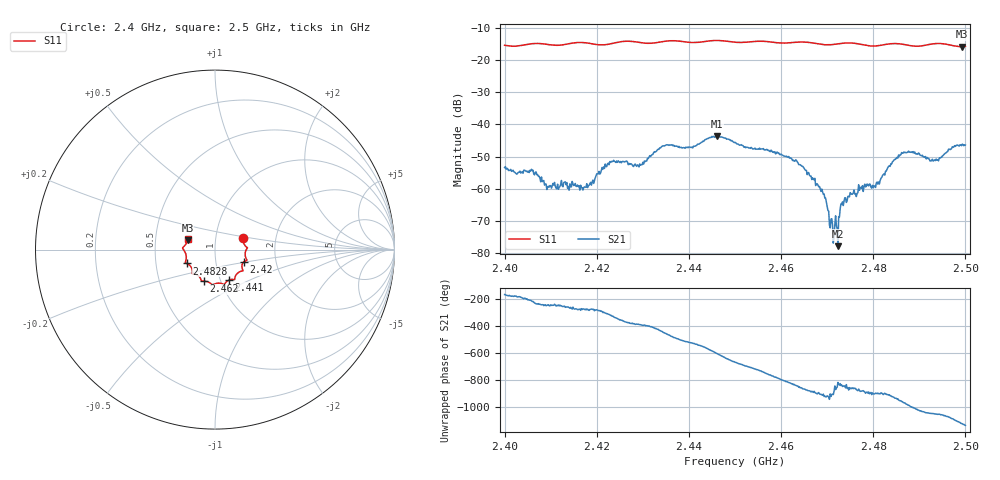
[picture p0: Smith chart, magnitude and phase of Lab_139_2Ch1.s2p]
# Hz S RI R 50
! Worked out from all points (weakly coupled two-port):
!   601 points, 2.4 GHz to 2.5 GHz, reference 50 ohm
!   highest |S21| = -43.65 dB at 2.446 GHz (marker M1); lowest = -77.9 dB at 2.4723 GHz (marker M2)
!   lowest |S11| = -15.8 dB at 2.4993 GHz (marker M3), VSWR 1.39, Z = 36.5 + j3.85 ohm
!   |S11| at or under -10 dB: start of sweep to end of sweep
!   S12 and S22 are empty: the file has one direction only
!   S11 on the Smith chart (normalised r, x): 2.4 GHz: 1.36, +0.18; 2.42 GHz: 1.36, -0.20; 2.441 GHz: 1.10, -0.39; 2.462 GHz: 0.84, -0.30; 2.4828 GHz: 0.72, -0.11; 2.5 GHz: 0.73, +0.09
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2.4e9  0.1574 0.0629  -0.00208 -0.000462  0 0  0 0
2.409667e9  0.1732 -0.00278  -0.000362 0.000994  0 0  0 0
2.416667e9  0.1776 -0.06  3.97e-05 0.00104  0 0  0 0
2.42e9  0.1595 -0.0697  0.000331 0.00167  0 0  0 0
2.423333e9  0.1505 -0.1006  0.00224 0.0014  0 0  0 0
2.429667e9  0.1396 -0.1226  0.00195 -0.00132  0 0  0 0
2.433333e9  0.1124 -0.151  0.00168 -0.00374  0 0  0 0
2.441e9  0.0786 -0.1697  -0.00454 -0.000718  0 0  0 0
2.446e9  0.0507 -0.195  -0.00288 0.00591  0 0  0 0
2.45e9  0.0285 -0.1871  0.00344 0.00398  0 0  0 0
2.462e9  -0.0604 -0.1755  -0.000784 -0.0029  0 0  0 0
2.466667e9  -0.0779 -0.1682  -0.00135 -0.000329  0 0  0 0
2.469333e9  -0.0895 -0.1482  -0.000748 0.000355  0 0  0 0
2.471e9  -0.1043 -0.1385  -0.000337 5.66e-05  0 0  0 0
2.472333e9  -0.116 -0.1355  -2.39e-05 -0.000126  0 0  0 0
2.4735e9  -0.1229 -0.1351  -0.000334 -0.000434  0 0  0 0
2.482833e9  -0.1576 -0.0773  -0.00187 0.00023  0 0  0 0
2.483333e9  -0.1606 -0.076  -0.00215 0.000548  0 0  0 0
2.486667e9  -0.1627 -0.0631  -0.00113 0.00354  0 0  0 0
2.493667e9  -0.1804 0.00702  0.00265 0.00118  0 0  0 0
2.499333e9  -0.1531 0.0513  0.0033 -0.00368  0 0  0 0
2.5e9  -0.1516 0.0609  0.00236 -0.00414  0 0  0 0
